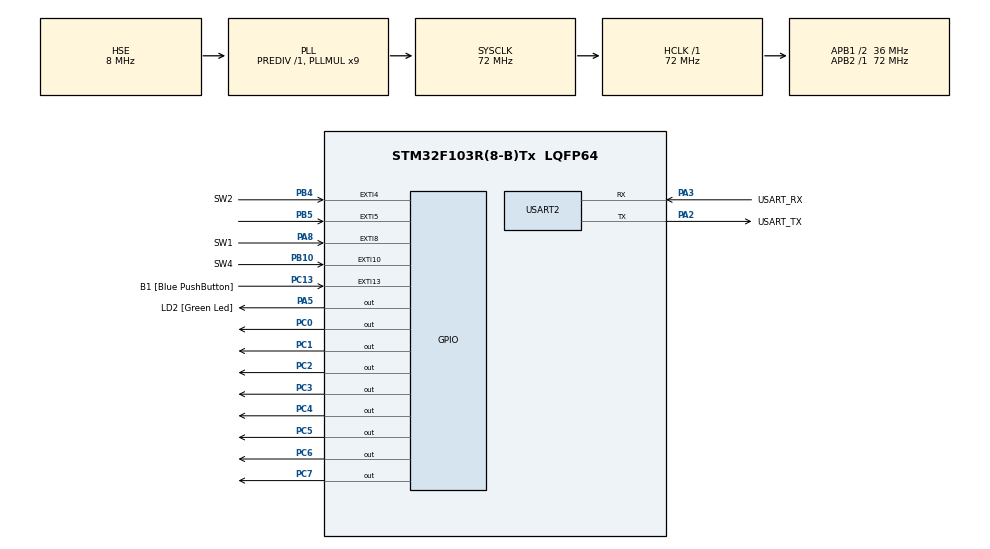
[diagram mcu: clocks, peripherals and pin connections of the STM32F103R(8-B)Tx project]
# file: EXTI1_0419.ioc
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Mcu.Family=STM32F1
Mcu.Name=STM32F103R(8-B)Tx
Mcu.Package=LQFP64
NVIC.EXTI15_10_IRQn=true\:0\:0\:false\:false\:true\:true\:true\:true
NVIC.EXTI4_IRQn=true\:0\:0\:false\:false\:true\:true\:true\:true
NVIC.EXTI9_5_IRQn=true\:0\:0\:false\:false\:true\:true\:true\:true
NVIC.PriorityGroup=NVIC_PRIORITYGROUP_4
PA13.GPIO_Label=TMS
PA13.Mode=Serial_Wire
PA13.Signal=SYS_JTMS-SWDIO
PA14.GPIO_Label=TCK
PA14.Mode=Serial_Wire
PA14.Signal=SYS_JTCK-SWCLK
PA2.GPIO_Label=USART_TX
PA2.GPIO_Mode=GPIO_MODE_AF_PP
PA2.GPIO_PuPd=GPIO_NOPULL
PA2.GPIO_Speed=GPIO_SPEED_FREQ_LOW
PA2.Mode=Asynchronous
PA2.Signal=USART2_TX
PA3.GPIO_Label=USART_RX
PA3.GPIO_Mode=GPIO_MODE_AF_PP
PA3.GPIO_PuPd=GPIO_NOPULL
PA3.GPIO_Speed=GPIO_SPEED_FREQ_LOW
PA3.Mode=Asynchronous
PA3.Signal=USART2_RX
PA5.GPIO_Label=LD2 [Green Led]
PA5.GPIO_ModeDefaultOutputPP=GPIO_MODE_OUTPUT_PP
PA5.GPIO_PuPd=GPIO_NOPULL
PA5.GPIO_Speed=GPIO_SPEED_FREQ_LOW
PA5.Signal=GPIO_Output
PA8.GPIO_Label=SW1
PA8.GPIO_ModeDefaultEXTI=GPIO_MODE_IT_FALLING
PA8.Signal=GPXTI8
PB10.GPIO_Label=SW4
PB10.GPIO_ModeDefaultEXTI=GPIO_MODE_IT_FALLING
PB10.Signal=GPXTI10
PB3.GPIO_Label=SWO
PB3.Signal=SYS_JTDO-TRACESWO
PB4.GPIO_Label=SW2
PB4.GPIO_ModeDefaultEXTI=GPIO_MODE_IT_FALLING
PB4.Signal=GPXTI4
PB5.GPIO_ModeDefaultEXTI=GPIO_MODE_IT_FALLING
PB5.GPIO_PuPd=GPIO_NOPULL
PB5.Signal=GPXTI5
PC0.GPIO_ModeDefaultOutputPP=GPIO_MODE_OUTPUT_PP
PC0.GPIO_Speed=GPIO_SPEED_FREQ_HIGH
PC0.PinState=GPIO_PIN_RESET
PC0.Signal=GPIO_Output
PC1.GPIO_ModeDefaultOutputPP=GPIO_MODE_OUTPUT_PP
PC1.GPIO_Speed=GPIO_SPEED_FREQ_HIGH
PC1.PinState=GPIO_PIN_RESET
PC1.Signal=GPIO_Output
PC13-TAMPER-RTC.GPIO_Label=B1 [Blue PushButton]
PC13-TAMPER-RTC.GPIO_PuPd=GPIO_NOPULL
PC13-TAMPER-RTC.Signal=GPXTI13
PC14-OSC32_IN.Mode=LSE-External-Oscillator
PC14-OSC32_IN.Signal=RCC_OSC32_IN
PC15-OSC32_OUT.Mode=LSE-External-Oscillator
PC15-OSC32_OUT.Signal=RCC_OSC32_OUT
PC2.GPIO_ModeDefaultOutputPP=GPIO_MODE_OUTPUT_PP
PC2.GPIO_Speed=GPIO_SPEED_FREQ_HIGH
PC2.PinState=GPIO_PIN_RESET
PC2.Signal=GPIO_Output
PC3.GPIO_ModeDefaultOutputPP=GPIO_MODE_OUTPUT_PP
PC3.GPIO_Speed=GPIO_SPEED_FREQ_HIGH
PC3.PinState=GPIO_PIN_RESET
PC3.Signal=GPIO_Output
PC4.GPIO_ModeDefaultOutputPP=GPIO_MODE_OUTPUT_PP
PC4.GPIO_Speed=GPIO_SPEED_FREQ_HIGH
PC4.PinState=GPIO_PIN_RESET
PC4.Signal=GPIO_Output
PC5.GPIO_ModeDefaultOutputPP=GPIO_MODE_OUTPUT_PP
PC5.GPIO_Speed=GPIO_SPEED_FREQ_HIGH
PC5.PinState=GPIO_PIN_RESET
PC5.Signal=GPIO_Output
PC6.GPIO_ModeDefaultOutputPP=GPIO_MODE_OUTPUT_PP
PC6.GPIO_Speed=GPIO_SPEED_FREQ_HIGH
PC6.PinState=GPIO_PIN_RESET
PC6.Signal=GPIO_Output
PC7.GPIO_ModeDefaultOutputPP=GPIO_MODE_OUTPUT_PP
PC7.GPIO_Speed=GPIO_SPEED_FREQ_HIGH
PC7.PinState=GPIO_PIN_RESET
PC7.Signal=GPIO_Output
PD0-OSC_IN.Mode=HSE-External-Clock-Source
PD0-OSC_IN.Signal=RCC_OSC_IN
PD1-OSC_OUT.Mode=HSE-External-Clock-Source
PD1-OSC_OUT.Signal=RCC_OSC_OUT
ProjectManager.HeapSize=0x200
ProjectManager.StackSize=0x400
ProjectManager.TargetToolchain=STM32CubeIDE
RCC.AHBFreq_Value=72000000
RCC.APB1CLKDivider=RCC_HCLK_DIV2
RCC.APB1Freq_Value=36000000
RCC.APB1TimFreq_Value=72000000
RCC.APB2Freq_Value=72000000
RCC.APB2TimFreq_Value=72000000
RCC.HCLKFreq_Value=72000000
RCC.PLLMUL=RCC_PLL_MUL9
RCC.PLLSourceVirtual=RCC_PLLSOURCE_HSE
RCC.RTCClockSelection=RCC_RTCCLKSOURCE_LSE
RCC.SYSCLKFreq_VALUE=72000000
RCC.SYSCLKSource=RCC_SYSCLKSOURCE_PLLCLK
RCC.USBFreq_Value=72000000
USART2.VirtualMode=VM_ASYNC
board=NUCLEO-F103RB

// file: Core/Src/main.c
/* USER CODE BEGIN Header */
/**
  ******************************************************************************
  * @file           : main.c
  * @brief          : Main program body
  ******************************************************************************
  * @attention
  *
  * Copyright (c) 2022 STMicroelectronics.
  * All rights reserved.
  *
  * This software is licensed under terms that can be found in the LICENSE file
  * in the root directory of this software component.
  * If no LICENSE file comes with this software, it is provided AS-IS.
  *
  ******************************************************************************
  */
/* USER CODE END Header */
#include "main.h"

 UART_HandleTypeDef huart2;

/* USER CODE BEGIN PV */
 uint8_t flag_SW1;
 uint8_t flag_SW2;
/* USER CODE END PV */

void SystemClock_Config(void);
static void MX_GPIO_Init(void);
static void MX_USART2_UART_Init(void);

int main(void)
{

  /* MCU Configuration--------------------------------------------------------*/

  /* Reset of all peripherals, Initializes the Flash interface and the Systick. */
  HAL_Init();

  /* Configure the system clock */
  SystemClock_Config();

  /* Initialize all configured peripherals */
  MX_GPIO_Init();
  MX_USART2_UART_Init();
  /* USER CODE BEGIN 2 */
  int led = 0x0001;
  /* USER CODE END 2 */

  /* Infinite loop */
  /* USER CODE BEGIN WHILE */
  while (1)
  {

	  if(flag_SW1 == 1)
	  {
		  HAL_GPIO_WritePin(GPIOC, led, GPIO_PIN_SET);
		  HAL_Delay(300);
		  HAL_GPIO_WritePin(GPIOC, led, GPIO_PIN_RESET);
		  led = led << 1;
		  if(led > 0x80)led = 0x01;
	  }
	  if(flag_SW2 == 1)
	  {
		  HAL_GPIO_WritePin(GPIOC, led , GPIO_PIN_SET);
		  HAL_Delay(300);
		  HAL_GPIO_WritePin(GPIOC, led, GPIO_PIN_RESET);
		  led = led >> 1;
		  if(led < 0x01)led = 0x80;

	  }
    /* USER CODE END WHILE */

  }
}

void SystemClock_Config(void)
{
  RCC_OscInitTypeDef RCC_OscInitStruct = {0};
  RCC_ClkInitTypeDef RCC_ClkInitStruct = {0};

  /** Initializes the RCC Oscillators according to the specified parameters
  * in the RCC_OscInitTypeDef structure.
  */
  RCC_OscInitStruct.OscillatorType = RCC_OSCILLATORTYPE_HSE;
  RCC_OscInitStruct.HSEState = RCC_HSE_BYPASS;
  RCC_OscInitStruct.HSEPredivValue = RCC_HSE_PREDIV_DIV1;
  RCC_OscInitStruct.HSIState = RCC_HSI_ON;
  RCC_OscInitStruct.PLL.PLLState = RCC_PLL_ON;
  RCC_OscInitStruct.PLL.PLLSource = RCC_PLLSOURCE_HSE;
  RCC_OscInitStruct.PLL.PLLMUL = RCC_PLL_MUL9;
  if (HAL_RCC_OscConfig(&RCC_OscInitStruct) != HAL_OK)
  {
    Error_Handler();
  }

  /** Initializes the CPU, AHB and APB buses clocks
  */
  RCC_ClkInitStruct.ClockType = RCC_CLOCKTYPE_HCLK|RCC_CLOCKTYPE_SYSCLK
                              |RCC_CLOCKTYPE_PCLK1|RCC_CLOCKTYPE_PCLK2;
  RCC_ClkInitStruct.SYSCLKSource = RCC_SYSCLKSOURCE_PLLCLK;
  RCC_ClkInitStruct.AHBCLKDivider = RCC_SYSCLK_DIV1;
  RCC_ClkInitStruct.APB1CLKDivider = RCC_HCLK_DIV2;
  RCC_ClkInitStruct.APB2CLKDivider = RCC_HCLK_DIV1;

  if (HAL_RCC_ClockConfig(&RCC_ClkInitStruct, FLASH_LATENCY_2) != HAL_OK)
  {
    Error_Handler();
  }
}

static void MX_USART2_UART_Init(void)
{

  huart2.Instance = USART2;
  huart2.Init.BaudRate = 115200;
  huart2.Init.WordLength = UART_WORDLENGTH_8B;
  huart2.Init.StopBits = UART_STOPBITS_1;
  huart2.Init.Parity = UART_PARITY_NONE;
  huart2.Init.Mode = UART_MODE_TX_RX;
  huart2.Init.HwFlowCtl = UART_HWCONTROL_NONE;
  huart2.Init.OverSampling = UART_OVERSAMPLING_16;
  if (HAL_UART_Init(&huart2) != HAL_OK)
  {
    Error_Handler();
  }

}

static void MX_GPIO_Init(void)
{
  GPIO_InitTypeDef GPIO_InitStruct = {0};

  /* GPIO Ports Clock Enable */
  __HAL_RCC_GPIOC_CLK_ENABLE();
  __HAL_RCC_GPIOD_CLK_ENABLE();
  __HAL_RCC_GPIOA_CLK_ENABLE();
  __HAL_RCC_GPIOB_CLK_ENABLE();

  /*Configure GPIO pin Output Level */
  HAL_GPIO_WritePin(GPIOC, GPIO_PIN_0|GPIO_PIN_1|GPIO_PIN_2|GPIO_PIN_3
                          |GPIO_PIN_4|GPIO_PIN_5|GPIO_PIN_6|GPIO_PIN_7, GPIO_PIN_RESET);

  /*Configure GPIO pin Output Level */
  HAL_GPIO_WritePin(LD2_GPIO_Port, LD2_Pin, GPIO_PIN_RESET);

  /*Configure GPIO pin : B1_Pin */
  GPIO_InitStruct.Pin = B1_Pin;
  GPIO_InitStruct.Mode = GPIO_MODE_IT_RISING;
  GPIO_InitStruct.Pull = GPIO_NOPULL;
  HAL_GPIO_Init(B1_GPIO_Port, &GPIO_InitStruct);

  /*Configure GPIO pins : PC0 PC1 PC2 PC3
                           PC4 PC5 PC6 PC7 */
  GPIO_InitStruct.Pin = GPIO_PIN_0|GPIO_PIN_1|GPIO_PIN_2|GPIO_PIN_3
                          |GPIO_PIN_4|GPIO_PIN_5|GPIO_PIN_6|GPIO_PIN_7;
  GPIO_InitStruct.Mode = GPIO_MODE_OUTPUT_PP;
  GPIO_InitStruct.Pull = GPIO_NOPULL;
  GPIO_InitStruct.Speed = GPIO_SPEED_FREQ_HIGH;
  HAL_GPIO_Init(GPIOC, &GPIO_InitStruct);

  /*Configure GPIO pin : LD2_Pin */
  GPIO_InitStruct.Pin = LD2_Pin;
  GPIO_InitStruct.Mode = GPIO_MODE_OUTPUT_PP;
  GPIO_InitStruct.Pull = GPIO_NOPULL;
  GPIO_InitStruct.Speed = GPIO_SPEED_FREQ_LOW;
  HAL_GPIO_Init(LD2_GPIO_Port, &GPIO_InitStruct);

  /*Configure GPIO pins : SW4_Pin SW2_Pin PB5 */
  GPIO_InitStruct.Pin = SW4_Pin|SW2_Pin|GPIO_PIN_5;
  GPIO_InitStruct.Mode = GPIO_MODE_IT_FALLING;
  GPIO_InitStruct.Pull = GPIO_NOPULL;
  HAL_GPIO_Init(GPIOB, &GPIO_InitStruct);

  /*Configure GPIO pin : SW1_Pin */
  GPIO_InitStruct.Pin = SW1_Pin;
  GPIO_InitStruct.Mode = GPIO_MODE_IT_FALLING;
  GPIO_InitStruct.Pull = GPIO_NOPULL;
  HAL_GPIO_Init(SW1_GPIO_Port, &GPIO_InitStruct);

  /* EXTI interrupt init*/
  HAL_NVIC_SetPriority(EXTI4_IRQn, 0, 0);
  HAL_NVIC_EnableIRQ(EXTI4_IRQn);

  HAL_NVIC_SetPriority(EXTI9_5_IRQn, 0, 0);
  HAL_NVIC_EnableIRQ(EXTI9_5_IRQn);

  HAL_NVIC_SetPriority(EXTI15_10_IRQn, 0, 0);
  HAL_NVIC_EnableIRQ(EXTI15_10_IRQn);

}

/* USER CODE BEGIN 4 */
void HAL_GPIO_EXTI_Callback(uint16_t GPIO_Pin)
{
	if(GPIO_Pin == GPIO_PIN_8)
	{
		flag_SW1 = 1;
		flag_SW2 = 0;
	}
	if(GPIO_Pin == GPIO_PIN_4)
	{
		flag_SW1 = 0;
		flag_SW2 = 1;
	}
}
/* USER CODE END 4 */

void Error_Handler(void)
{
  __disable_irq();
  while (1)
  {
  }
}
